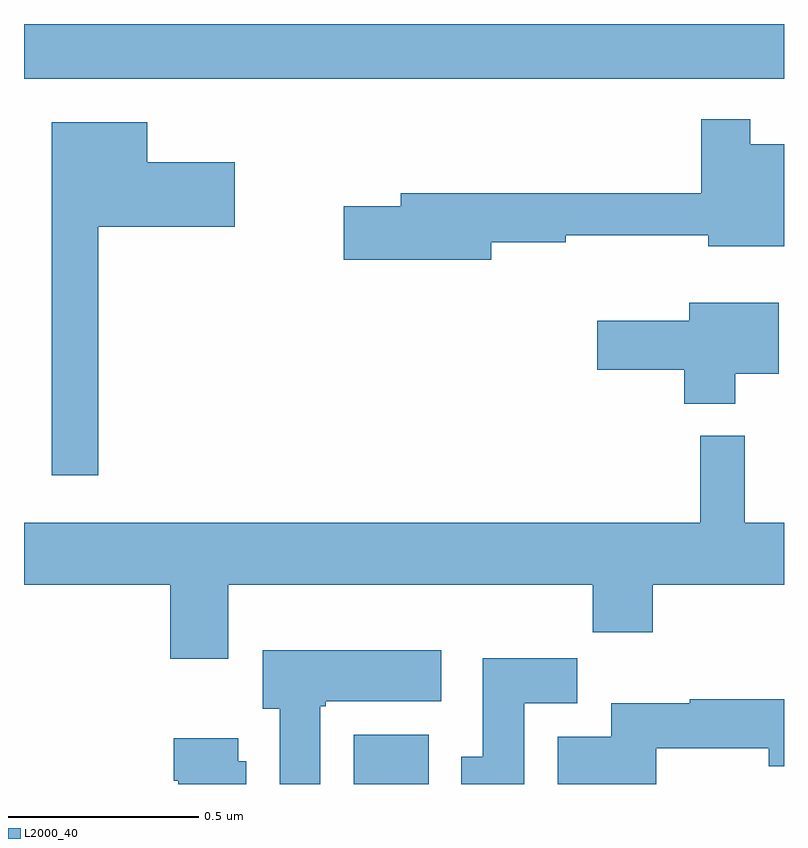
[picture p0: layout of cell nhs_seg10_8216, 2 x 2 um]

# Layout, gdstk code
import gdstk
lib = gdstk.Library(unit=1e-6, precision=1e-09)
def R(c, l, rs):  # rectangles x0, y0, x1, y1
    for r in rs: c.add(gdstk.rectangle(r[:2], r[2:], *l))
def P(c, l, *ps):  # polygons
    for p in ps: c.add(gdstk.Polygon(p, *l))
L2000_40 = (2000, 40)

nhs_seg10_8216 = lib.new_cell('nhs_seg10_8216')
R(nhs_seg10_8216, L2000_40, [(214.868,1258.5,215.065,1258.63), (214,1260.356,216,1260.5)])
P(nhs_seg10_8216, L2000_40, [(215.23,1259.926),(215.426,1259.926),(215.426,1259.944),(215.801,1259.944),(215.801,1259.915),(216,1259.915),(216,1260.184),(215.911,1260.184),(215.911,1260.25),(215.782,1260.25),(215.782,1260.055),(214.991,1260.055),(214.991,1260.021),(214.842,1260.021),(214.842,1259.879),(215.23,1259.879)],
  [(214.195,1259.966),(214.555,1259.966),(214.555,1260.136),(214.324,1260.136),(214.324,1260.241),(214.073,1260.241),(214.073,1259.313),(214.195,1259.313)],
  [(215.872,1259.579),(215.986,1259.579),(215.986,1259.767),(215.75,1259.767),(215.75,1259.719),(215.508,1259.719),(215.508,1259.59),(215.738,1259.59),(215.738,1259.501),(215.872,1259.501)],
  [(214.537,1259.024),(215.497,1259.024),(215.497,1258.9),(215.654,1258.9),(215.654,1259.024),(216,1259.024),(216,1259.188),(215.897,1259.188),(215.897,1259.416),(215.779,1259.416),(215.779,1259.188),(214,1259.188),(214,1259.024),(214.385,1259.024),(214.385,1258.83),(214.537,1258.83)],
  [(214.78,1258.705),(214.794,1258.705),(214.794,1258.718),(215.098,1258.718),(215.098,1258.852),(214.628,1258.852),(214.628,1258.698),(214.673,1258.698),(214.673,1258.5),(214.78,1258.5)],
  [(215.317,1258.712),(215.456,1258.712),(215.456,1258.831),(215.207,1258.831),(215.207,1258.572),(215.15,1258.572),(215.15,1258.5),(215.317,1258.5)],
  [(215.664,1258.594),(215.96,1258.594),(215.96,1258.547),(216,1258.547),(216,1258.723),(215.752,1258.723),(215.752,1258.712),(215.546,1258.712),(215.546,1258.624),(215.405,1258.624),(215.405,1258.5),(215.664,1258.5)],
  [(214.585,1258.56),(214.564,1258.56),(214.564,1258.621),(214.394,1258.621),(214.394,1258.508),(214.406,1258.508),(214.406,1258.5),(214.585,1258.5)])

lib.write_gds('nhs_seg10_8216.gds')
